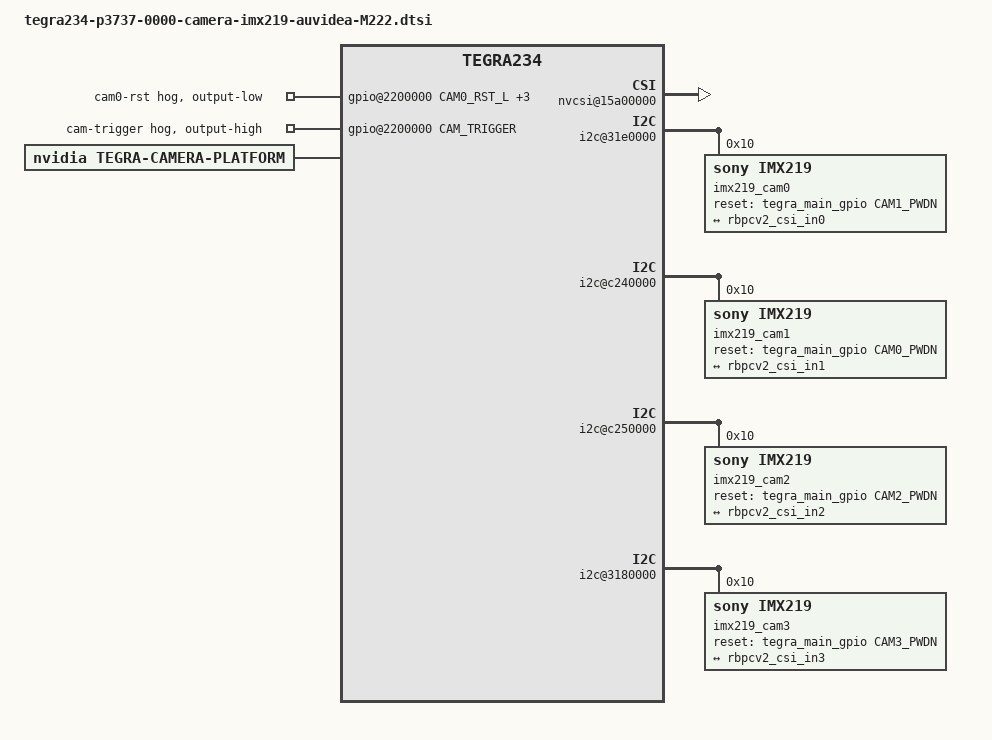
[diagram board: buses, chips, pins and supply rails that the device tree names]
/*
 * Copyright (c) 2017-2021, NVIDIA CORPORATION.  All rights reserved.
 *
 * This program is free software; you can redistribute it and/or modify it
 * under the terms and conditions of the GNU General Public License,
 * version 2, as published by the Free Software Foundation.
 *
 * This program is distributed in the hope it will be useful, but WITHOUT
 * ANY WARRANTY; without even the implied warranty of MERCHANTABILITY or
 * FITNESS FOR A PARTICULAR PURPOSE.  See the GNU General Public License for
 * more details.
 *
 * You should have received a copy of the GNU General Public License
 * along with this program.  If not, see <http://www.gnu.org/licenses/>.
 */


//new file created for 2x cam on X230D(fd)
#include "dt-bindings/clock/tegra234-clock.h"

#define CAM0_RST_L	TEGRA234_MAIN_GPIO(H, 3)
#define CAM0_PWDN	TEGRA234_MAIN_GPIO(H, 6)
#define CAM1_RST_L	TEGRA234_MAIN_GPIO(AC, 1)
#define CAM1_PWDN	TEGRA234_MAIN_GPIO(AC, 0)
#define CAM2_RST_L	TEGRA234_MAIN_GPIO(AC, 3)
#define CAM2_PWDN	TEGRA234_MAIN_GPIO(AC, 2)
#define CAM3_RST_L	TEGRA234_MAIN_GPIO(H, 4)
#define CAM3_PWDN	TEGRA234_MAIN_GPIO(H, 5)

#define CAM_TRIGGER	TEGRA234_MAIN_GPIO(R, 0)

#define CAMERA_I2C_MUX_BUS(x) (0x1E + x)


//new file created for 4x cam on X230(D) + M222					(fd)

/ {

	gpio@2200000 {
		camera-control-output-low {
			gpio-hog;
			output-low;
			gpios = <CAM0_RST_L 0 CAM0_PWDN 0
				 CAM1_RST_L 0 CAM1_PWDN 0>;
			label = "cam0-rst", "cam0-pwdn",
				"cam1-rst", "cam1-pwdn";
		};
		camera-trigger-output-high {
			gpio-hog;
			output-high;
			gpios = <CAM_TRIGGER 0>;
			label = "cam-trigger";
		};
	};


	tegra-capture-vi {
		status = "okay";
		num-channels = <4>;
		ports {
			status = "okay";
			#address-cells = <1>;
			#size-cells = <0>;
			vi_port0: port@0 {								//M222 CSI 01		
				status = "okay";
				reg = <0>;
				rbpcv2_vi_in0: endpoint {
					status = "okay";
					port-index = <0>;
					bus-width = <2>;
					remote-endpoint = <&rbpcv2_csi_out0>;
				};
			};
			vi_port1: port@1 {								//M222 CSI 67		
				status = "okay";
				reg = <1>;
				rbpcv2_vi_in1: endpoint {
					status = "okay";
					port-index = <5>;
					bus-width = <2>;
					remote-endpoint = <&rbpcv2_csi_out1>;
				};
			};
			vi_port2: port@2 {								//M222 CSI 45	
				status = "okay";
				reg = <2>;
				rbpcv2_vi_in2: endpoint {
					status = "okay";
					port-index = <4>;
					bus-width = <2>;
					remote-endpoint = <&rbpcv2_csi_out2>;
				};
			};
			vi_port3: port@3 {								//M222 CSI 23
				status = "okay";
				reg = <3>;
				rbpcv2_vi_in3: endpoint {
					status = "okay";
					port-index = <2>;
					bus-width = <2>;
					remote-endpoint = <&rbpcv2_csi_out3>;
				};
			};
		};
	};

	host1x@13e00000 {
		nvcsi@15a00000 {
			status = "okay";
			num-channels = <4>;
			#address-cells = <1>;
			#size-cells = <0>;
			csi_chan0: channel@0 {								//M222 CSI 01		
				status = "okay";
				reg = <0>;
				ports {
					status = "okay";
					#address-cells = <1>;
					#size-cells = <0>;
					csi_chan0_port0: port@0 {
						status = "okay";
						reg = <0>;
						rbpcv2_csi_in0: endpoint@0 {
							status = "okay";
							port-index = <0>;
							bus-width = <2>;
							remote-endpoint = <&rbpcv2_imx219_out0>;
						};
					};
					csi_chan0_port1: port@1 {
						status = "okay";
						reg = <1>;
						rbpcv2_csi_out0: endpoint@1 {
							status = "okay";
							remote-endpoint = <&rbpcv2_vi_in0>;
						};
					};
				};
			};
			csi_chan1: channel@1 {								//M222 CSI 67		
				status = "okay";
				reg = <1>;
				ports {
					status = "okay";
					#address-cells = <1>;
					#size-cells = <0>;
					csi_chan1_port0: port@0 {
						status = "okay";
						reg = <0>;
						rbpcv2_csi_in1: endpoint@0 {
							status = "okay";
							port-index = <6>;
							bus-width = <2>;
							remote-endpoint = <&rbpcv2_imx219_out1>;
						};
					};
					csi_chan1_port1: port@1 {
						status = "okay";
						reg = <1>;
						rbpcv2_csi_out1: endpoint@1 {
							status = "okay";
							remote-endpoint = <&rbpcv2_vi_in1>;
						};
					};
				};
			};
			csi_chan2: channel@2 {								//M222 CSI 45		
				status = "okay";
				reg = <2>;
				ports {
					status = "okay";
					#address-cells = <1>;
					#size-cells = <0>;
					csi_chan2_port0: port@0 {
						status = "okay";
						reg = <0>;
						rbpcv2_csi_in2: endpoint@0 {
							status = "okay";
							port-index = <4>;
							bus-width = <2>;
							remote-endpoint = <&rbpcv2_imx219_out2>;
						};
					};
					csi_chan2_port1: port@1 {
						status = "okay";
						reg = <1>;
						rbpcv2_csi_out2: endpoint@1 {
							status = "okay";
							remote-endpoint = <&rbpcv2_vi_in2>;
						};
					};
				};
			};
			csi_chan3: channel@3 {								//M222 CSI 23
				status = "okay";
				reg = <3>;
				ports {
					status = "okay";
					#address-cells = <1>;
					#size-cells = <0>;
					csi_chan3_port0: port@0 {
						status = "okay";
						reg = <0>;
						rbpcv2_csi_in3: endpoint@0 {
							status = "okay";
							port-index = <2>;
							bus-width = <2>;
							remote-endpoint = <&rbpcv2_imx219_out3>;
						};
					};
					csi_chan3_port1: port@1 {
						status = "okay";
						reg = <1>;
						rbpcv2_csi_out3: endpoint@1 {
							status = "okay";
							remote-endpoint = <&rbpcv2_vi_in3>;
						};
					};
				};
			};
		};
	};

	i2c@31e0000 {											//M222 CSI 01		
		imx219_cam0: rbpcv2_imx219_a@10 {
			status="okay";
			compatible = "sony,imx219";
			reg = <0x10>;

			reset-gpios = <&tegra_main_gpio CAM1_PWDN GPIO_ACTIVE_HIGH>;

			devnode = "video0";

			physical_w = "3.680";
			physical_h = "2.760";

			sensor_model = "imx219";

			use_sensor_mode_id = "true";

			mode0 { // IMX219_MODE_3280x2464_21FPS //
				mclk_khz = "24000";
				num_lanes = "2";
				tegra_sinterface = "serial_a";
				phy_mode = "DPHY";
				discontinuous_clk = "yes";
				dpcm_enable = "false";
				cil_settletime = "0";

				active_w = "3280";
				active_h = "2464";
				mode_type = "bayer";
				pixel_phase = "rggb";
				csi_pixel_bit_depth = "10";
				readout_orientation = "90";
				line_length = "3448";
				inherent_gain = "1";
				mclk_multiplier = "9.33";
				pix_clk_hz = "182400000";

				gain_factor = "16";
				framerate_factor = "1000000";
				exposure_factor = "1000000";
				min_gain_val = "16";
				max_gain_val = "170";
				step_gain_val = "1";
				default_gain = "16"; 
				min_hdr_ratio = "1";
				max_hdr_ratio = "1";
				min_framerate = "2000000";
				max_framerate = "21000000"; 
				step_framerate = "1";
				default_framerate = "21000000";
				min_exp_time = "13"; 
				max_exp_time = "683709"; 
				step_exp_time = "1";
				default_exp_time = "2495"; 

				embedded_metadata_height = "2";
			};
			mode1 { // IMX219_MODE_3280x1848_28FPS //
				mclk_khz = "24000";
				num_lanes = "2";
				tegra_sinterface = "serial_a";
				phy_mode = "DPHY";
				discontinuous_clk = "yes";
				dpcm_enable = "false";
				cil_settletime = "0";

				active_w = "3280";
				active_h = "1848";
				mode_type = "bayer";
				pixel_phase = "rggb";
				csi_pixel_bit_depth = "10";
				readout_orientation = "90";
				line_length = "3448";
				inherent_gain = "1";
				mclk_multiplier = "9.33";
				pix_clk_hz = "182400000";

				gain_factor = "16";
				framerate_factor = "1000000";
				exposure_factor = "1000000";
				min_gain_val = "16";
				max_gain_val = "170";
				step_gain_val = "1";
				default_gain = "16"; 
				min_hdr_ratio = "1";
				max_hdr_ratio = "1";
				min_framerate = "2000000"; 
				max_framerate = "28000000"; 
				step_framerate = "1";
				default_framerate = "28000000"; 
				min_exp_time = "13"; 
				max_exp_time = "683709"; 
				step_exp_time = "1";
				default_exp_time = "2495"; 

				embedded_metadata_height = "2";
			};
			mode2 { // IMX219_MODE_1920x1080_30FPS //
				mclk_khz = "24000";
				num_lanes = "2";
				tegra_sinterface = "serial_a";
				phy_mode = "DPHY";
				discontinuous_clk = "yes";
				dpcm_enable = "false";
				cil_settletime = "0";

				active_w = "1920";
				active_h = "1080";
				mode_type = "bayer";
				pixel_phase = "rggb";
				csi_pixel_bit_depth = "10";
				readout_orientation = "90";
				line_length = "3448";
				inherent_gain = "1";
				mclk_multiplier = "9.33";
				pix_clk_hz = "182400000";

				gain_factor = "16";
				framerate_factor = "1000000";
				exposure_factor = "1000000";
				min_gain_val = "16"; 
				max_gain_val = "170"; 
				step_gain_val = "1";
				default_gain = "16"; 
				min_hdr_ratio = "1";
				max_hdr_ratio = "1";
				min_framerate = "2000000"; 
				max_framerate = "30000000"; 
				step_framerate = "1";
				default_framerate = "30000000"; 
				min_exp_time = "13"; 
				max_exp_time = "683709"; 
				step_exp_time = "1";
				default_exp_time = "2495"; 

				embedded_metadata_height = "2";
			};

			mode3 { // IMX219_MODE_1640x1232_30FPS //
				mclk_khz = "24000";
				num_lanes = "2";
				tegra_sinterface = "serial_a";
				phy_mode = "DPHY";
				discontinuous_clk = "yes";
				dpcm_enable = "false";
				cil_settletime = "0";

				active_w = "1640";
				active_h = "1232";
				mode_type = "bayer";
				pixel_phase = "rggb";
				csi_pixel_bit_depth = "10";
				readout_orientation = "90";
				line_length = "3448";
				inherent_gain = "1";
				mclk_multiplier = "9.33";
				pix_clk_hz = "182400000";

				gain_factor = "16";
				framerate_factor = "1000000";
				exposure_factor = "1000000";
				min_gain_val = "16"; 
				max_gain_val = "170"; 
				step_gain_val = "1";
				default_gain = "16"; 
				min_hdr_ratio = "1";
				max_hdr_ratio = "1";
				min_framerate = "2000000"; 
				max_framerate = "30000000"; 
				step_framerate = "1";
				default_framerate = "30000000"; 
				min_exp_time = "13"; 
				max_exp_time = "683709"; 
				step_exp_time = "1";
				default_exp_time = "2495"; 

				embedded_metadata_height = "2";
			};

			mode4 { // IMX219_MODE_1280x720_60FPS //
				mclk_khz = "24000";
				num_lanes = "2";
				tegra_sinterface = "serial_a";
				phy_mode = "DPHY";
				discontinuous_clk = "yes";
				dpcm_enable = "false";
				cil_settletime = "0";

				active_w = "1280";
				active_h = "720";
				mode_type = "bayer";
				pixel_phase = "rggb";
				csi_pixel_bit_depth = "10";
				readout_orientation = "90";
				line_length = "3448";
				inherent_gain = "1";
				mclk_multiplier = "9.33";
				pix_clk_hz = "182400000";

				gain_factor = "16";
				framerate_factor = "1000000";
				exposure_factor = "1000000";
				min_gain_val = "16"; 
				max_gain_val = "170"; 
				step_gain_val = "1";
				default_gain = "16"; 
				min_hdr_ratio = "1";
				max_hdr_ratio = "1";
				min_framerate = "2000000";
				max_framerate = "60000000"; 
				step_framerate = "1";
				default_framerate = "60000000"; 
				min_exp_time = "13"; 
				max_exp_time = "683709"; 
				step_exp_time = "1";
				default_exp_time = "2495"; 

				embedded_metadata_height = "2";
			};

			ports {
				status="okay";
				#address-cells = <1>;
				#size-cells = <0>;
				port@0 {
					status="okay";
					reg = <0>;
					rbpcv2_imx219_out0: endpoint {
						status="okay";
						port-index = <0>;
						bus-width = <2>;
						remote-endpoint = <&rbpcv2_csi_in0>;
					};
				};
			};
		};
	};
	i2c@c240000 {												//M222 CSI 67			
		imx219_cam1: rbpcv2_imx219_g@10 {
			status="okay";
			compatible = "sony,imx219";
			reg = <0x10>;
			
			reset-gpios = <&tegra_main_gpio CAM0_PWDN GPIO_ACTIVE_HIGH>;

			devnode = "video1";

			physical_w = "3.680";
			physical_h = "2.760";

			sensor_model = "imx219";

			use_sensor_mode_id = "true";

			mode0 { // IMX219_MODE_3280x2464_21FPS //
				mclk_khz = "24000";
				num_lanes = "2";
				tegra_sinterface = "serial_g";
				phy_mode = "DPHY";
				discontinuous_clk = "yes";
				dpcm_enable = "false";
				cil_settletime = "0";

				active_w = "3280";
				active_h = "2464";
				mode_type = "bayer";
				pixel_phase = "rggb";
				csi_pixel_bit_depth = "10";
				readout_orientation = "90";
				line_length = "3448";
				inherent_gain = "1";
				mclk_multiplier = "9.33";
				pix_clk_hz = "182400000";

				gain_factor = "16";
				framerate_factor = "1000000";
				exposure_factor = "1000000";
				min_gain_val = "16"; 
				max_gain_val = "170"; 
				step_gain_val = "1";
				default_gain = "16"; 
				min_hdr_ratio = "1";
				max_hdr_ratio = "1";
				min_framerate = "2000000"; 
				max_framerate = "21000000"; 
				step_framerate = "1";
				default_framerate = "21000000"; 
				min_exp_time = "13"; 
				max_exp_time = "683709"; 
				step_exp_time = "1";
				default_exp_time = "2495"; 

				embedded_metadata_height = "2";
			};
			mode1 { // IMX219_MODE_3280x1848_28FPS //
				mclk_khz = "24000";
				num_lanes = "2";
				tegra_sinterface = "serial_g";
				phy_mode = "DPHY";
				discontinuous_clk = "yes";
				dpcm_enable = "false";
				cil_settletime = "0";

				active_w = "3280";
				active_h = "1848";
				mode_type = "bayer";
				pixel_phase = "rggb";
				csi_pixel_bit_depth = "10";
				readout_orientation = "90";
				line_length = "3448";
				inherent_gain = "1";
				mclk_multiplier = "9.33";
				pix_clk_hz = "182400000";

				gain_factor = "16";
				framerate_factor = "1000000";
				exposure_factor = "1000000";
				min_gain_val = "16"; 
				max_gain_val = "170"; 
				step_gain_val = "1";
				default_gain = "16"; 
				min_hdr_ratio = "1";
				max_hdr_ratio = "1";
				min_framerate = "2000000"; 
				max_framerate = "28000000"; 
				step_framerate = "1";
				default_framerate = "28000000"; 
				min_exp_time = "13"; 
				max_exp_time = "683709"; 
				step_exp_time = "1";
				default_exp_time = "2495"; 

				embedded_metadata_height = "2";
			};
			mode2 { // IMX219_MODE_1920x1080_30FPS //
				mclk_khz = "24000";
				num_lanes = "2";
				tegra_sinterface = "serial_g";
				phy_mode = "DPHY";
				discontinuous_clk = "yes";
				dpcm_enable = "false";
				cil_settletime = "0";

				active_w = "1920";
				active_h = "1080";
				mode_type = "bayer";
				pixel_phase = "rggb";
				csi_pixel_bit_depth = "10";
				readout_orientation = "90";
				line_length = "3448";
				inherent_gain = "1";
				mclk_multiplier = "9.33";
				pix_clk_hz = "182400000";

				gain_factor = "16";
				framerate_factor = "1000000";
				exposure_factor = "1000000";
				min_gain_val = "16"; 
				max_gain_val = "170"; 
				step_gain_val = "1";
				default_gain = "16"; 
				min_hdr_ratio = "1";
				max_hdr_ratio = "1";
				min_framerate = "2000000";
				max_framerate = "30000000";
				step_framerate = "1";
				default_framerate = "30000000";
				min_exp_time = "13"; 
				max_exp_time = "683709"; 
				step_exp_time = "1";
				default_exp_time = "2495"; 

				embedded_metadata_height = "2";
			};

			mode3 { // IMX219_MODE_1640x1232_30FPS //
				mclk_khz = "24000";
				num_lanes = "2";
				tegra_sinterface = "serial_g";
				phy_mode = "DPHY";
				discontinuous_clk = "yes";
				dpcm_enable = "false";
				cil_settletime = "0";

				active_w = "1640";
				active_h = "1232";
				mode_type = "bayer";
				pixel_phase = "rggb";
				csi_pixel_bit_depth = "10";
				readout_orientation = "90";
				line_length = "3448";
				inherent_gain = "1";
				mclk_multiplier = "9.33";
				pix_clk_hz = "182400000";

				gain_factor = "16";
				framerate_factor = "1000000";
				exposure_factor = "1000000";
				min_gain_val = "16"; 
				max_gain_val = "170"; 
				step_gain_val = "1";
				default_gain = "16"; 
				min_hdr_ratio = "1";
				max_hdr_ratio = "1";
				min_framerate = "2000000"; 
				max_framerate = "30000000";
				step_framerate = "1";
				default_framerate = "30000000"; 
				min_exp_time = "13"; 
				max_exp_time = "683709"; 
				step_exp_time = "1";
				default_exp_time = "2495"; 

				embedded_metadata_height = "2";
			};

			mode4 { // IMX219_MODE_1280x720_60FPS //
				mclk_khz = "24000";
				num_lanes = "2";
				tegra_sinterface = "serial_g";
				phy_mode = "DPHY";
				discontinuous_clk = "yes";
				dpcm_enable = "false";
				cil_settletime = "0";

				active_w = "1280";
				active_h = "720";
				mode_type = "bayer";
				pixel_phase = "rggb";
				csi_pixel_bit_depth = "10";
				readout_orientation = "90";
				line_length = "3448";
				inherent_gain = "1";
				mclk_multiplier = "9.33";
				pix_clk_hz = "182400000";

				gain_factor = "16";
				framerate_factor = "1000000";
				exposure_factor = "1000000";
				min_gain_val = "16"; 
				max_gain_val = "170"; 
				step_gain_val = "1";
				default_gain = "16"; 
				min_hdr_ratio = "1";
				max_hdr_ratio = "1";
				min_framerate = "2000000";
				max_framerate = "60000000";
				step_framerate = "1";
				default_framerate = "60000000"; 
				min_exp_time = "13";
				max_exp_time = "683709"; 
				step_exp_time = "1";
				default_exp_time = "2495"; 

				embedded_metadata_height = "2";
			};

			ports {
				status="okay";
				#address-cells = <1>;
				#size-cells = <0>;
				port@0 {
					status="okay";
					reg = <0>;
					rbpcv2_imx219_out1: endpoint {
						status = "okay";
						port-index = <6>;
						bus-width = <2>;
						remote-endpoint = <&rbpcv2_csi_in1>;
					};
				};
			};
		};
	};
	i2c@c250000 {												//M222 CSI 45	
		imx219_cam2: rbpcv2_imx219_e@10 {
			status="okay";
			compatible = "sony,imx219";
			reg = <0x10>;
			
			reset-gpios = <&tegra_main_gpio CAM2_PWDN GPIO_ACTIVE_HIGH>;

			devnode = "video2";

			physical_w = "3.680";
			physical_h = "2.760";

			sensor_model = "imx219";

			use_sensor_mode_id = "true";

			mode0 { // IMX219_MODE_3280x2464_21FPS //
				mclk_khz = "24000";
				num_lanes = "2";
				tegra_sinterface = "serial_e";
				phy_mode = "DPHY";
				discontinuous_clk = "yes";
				dpcm_enable = "false";
				cil_settletime = "0";

				active_w = "3280";
				active_h = "2464";
				mode_type = "bayer";
				pixel_phase = "rggb";
				csi_pixel_bit_depth = "10";
				readout_orientation = "90";
				line_length = "3448";
				inherent_gain = "1";
				mclk_multiplier = "9.33";
				pix_clk_hz = "182400000";

				gain_factor = "16";
				framerate_factor = "1000000";
				exposure_factor = "1000000";
				min_gain_val = "16"; 
				max_gain_val = "170"; 
				step_gain_val = "1";
				default_gain = "16"; 
				min_hdr_ratio = "1";
				max_hdr_ratio = "1";
				min_framerate = "2000000"; 
				max_framerate = "21000000"; 
				step_framerate = "1";
				default_framerate = "21000000"; 
				min_exp_time = "13"; 
				max_exp_time = "683709"; 
				step_exp_time = "1";
				default_exp_time = "2495"; 

				embedded_metadata_height = "2";
			};
			mode1 { // IMX219_MODE_3280x1848_28FPS //
				mclk_khz = "24000";
				num_lanes = "2";
				tegra_sinterface = "serial_e";
				phy_mode = "DPHY";
				discontinuous_clk = "yes";
				dpcm_enable = "false";
				cil_settletime = "0";

				active_w = "3280";
				active_h = "1848";
				mode_type = "bayer";
				pixel_phase = "rggb";
				csi_pixel_bit_depth = "10";
				readout_orientation = "90";
				line_length = "3448";
				inherent_gain = "1";
				mclk_multiplier = "9.33";
				pix_clk_hz = "182400000";

				gain_factor = "16";
				framerate_factor = "1000000";
				exposure_factor = "1000000";
				min_gain_val = "16"; 
				max_gain_val = "170"; 
				step_gain_val = "1";
				default_gain = "16"; 
				min_hdr_ratio = "1";
				max_hdr_ratio = "1";
				min_framerate = "2000000"; 
				max_framerate = "28000000"; 
				step_framerate = "1";
				default_framerate = "28000000"; 
				min_exp_time = "13"; 
				max_exp_time = "683709"; 
				step_exp_time = "1";
				default_exp_time = "2495"; 

				embedded_metadata_height = "2";
			};
			mode2 { // IMX219_MODE_1920x1080_30FPS //
				mclk_khz = "24000";
				num_lanes = "2";
				tegra_sinterface = "serial_e";
				phy_mode = "DPHY";
				discontinuous_clk = "yes";
				dpcm_enable = "false";
				cil_settletime = "0";

				active_w = "1920";
				active_h = "1080";
				mode_type = "bayer";
				pixel_phase = "rggb";
				csi_pixel_bit_depth = "10";
				readout_orientation = "90";
				line_length = "3448";
				inherent_gain = "1";
				mclk_multiplier = "9.33";
				pix_clk_hz = "182400000";

				gain_factor = "16";
				framerate_factor = "1000000";
				exposure_factor = "1000000";
				min_gain_val = "16"; 
				max_gain_val = "170"; 
				step_gain_val = "1";
				default_gain = "16"; 
				min_hdr_ratio = "1";
				max_hdr_ratio = "1";
				min_framerate = "2000000";
				max_framerate = "30000000";
				step_framerate = "1";
				default_framerate = "30000000";
				min_exp_time = "13"; 
				max_exp_time = "683709"; 
				step_exp_time = "1";
				default_exp_time = "2495"; 

				embedded_metadata_height = "2";
			};

			mode3 { // IMX219_MODE_1640x1232_30FPS //
				mclk_khz = "24000";
				num_lanes = "2";
				tegra_sinterface = "serial_e";
				phy_mode = "DPHY";
				discontinuous_clk = "yes";
				dpcm_enable = "false";
				cil_settletime = "0";

				active_w = "1640";
				active_h = "1232";
				mode_type = "bayer";
				pixel_phase = "rggb";
				csi_pixel_bit_depth = "10";
				readout_orientation = "90";
				line_length = "3448";
				inherent_gain = "1";
				mclk_multiplier = "9.33";
				pix_clk_hz = "182400000";

				gain_factor = "16";
				framerate_factor = "1000000";
				exposure_factor = "1000000";
				min_gain_val = "16"; 
				max_gain_val = "170"; 
				step_gain_val = "1";
				default_gain = "16"; 
				min_hdr_ratio = "1";
				max_hdr_ratio = "1";
				min_framerate = "2000000"; 
				max_framerate = "30000000";
				step_framerate = "1";
				default_framerate = "30000000"; 
				min_exp_time = "13"; 
				max_exp_time = "683709"; 
				step_exp_time = "1";
				default_exp_time = "2495"; 

				embedded_metadata_height = "2";
			};

			mode4 { // IMX219_MODE_1280x720_60FPS //
				mclk_khz = "24000";
				num_lanes = "2";
				tegra_sinterface = "serial_e";
				phy_mode = "DPHY";
				discontinuous_clk = "yes";
				dpcm_enable = "false";
				cil_settletime = "0";

				active_w = "1280";
				active_h = "720";
				mode_type = "bayer";
				pixel_phase = "rggb";
				csi_pixel_bit_depth = "10";
				readout_orientation = "90";
				line_length = "3448";
				inherent_gain = "1";
				mclk_multiplier = "9.33";
				pix_clk_hz = "182400000";

				gain_factor = "16";
				framerate_factor = "1000000";
				exposure_factor = "1000000";
				min_gain_val = "16"; 
				max_gain_val = "170"; 
				step_gain_val = "1";
				default_gain = "16"; 
				min_hdr_ratio = "1";
				max_hdr_ratio = "1";
				min_framerate = "2000000";
				max_framerate = "60000000";
				step_framerate = "1";
				default_framerate = "60000000"; 
				min_exp_time = "13";
				max_exp_time = "683709"; 
				step_exp_time = "1";
				default_exp_time = "2495"; 

				embedded_metadata_height = "2";
			};

			ports {
				status="okay";
				#address-cells = <1>;
				#size-cells = <0>;
				port@0 {
					status="okay";
					reg = <0>;
					rbpcv2_imx219_out2: endpoint {
						status = "okay";
						port-index = <4>;
						bus-width = <2>;
						remote-endpoint = <&rbpcv2_csi_in2>;
					};
				};
			};
		};
	};
	i2c@3180000 {											//M222 CSI 23				
		imx219_cam3: rbpcv2_imx219_c@10 {
			status="okay";
			compatible = "sony,imx219";
			reg = <0x10>;
			
			reset-gpios = <&tegra_main_gpio CAM3_PWDN GPIO_ACTIVE_HIGH>;

			devnode = "video3";

			physical_w = "3.680";
			physical_h = "2.760";

			sensor_model = "imx219";

			use_sensor_mode_id = "true";

			mode0 { // IMX219_MODE_3280x2464_21FPS //
				mclk_khz = "24000";
				num_lanes = "2";
				tegra_sinterface = "serial_c";
				phy_mode = "DPHY";
				discontinuous_clk = "yes";
				dpcm_enable = "false";
				cil_settletime = "0";

				active_w = "3280";
				active_h = "2464";
				mode_type = "bayer";
				pixel_phase = "rggb";
				csi_pixel_bit_depth = "10";
				readout_orientation = "90";
				line_length = "3448";
				inherent_gain = "1";
				mclk_multiplier = "9.33";
				pix_clk_hz = "182400000";

				gain_factor = "16";
				framerate_factor = "1000000";
				exposure_factor = "1000000";
				min_gain_val = "16"; 
				max_gain_val = "170"; 
				step_gain_val = "1";
				default_gain = "16"; 
				min_hdr_ratio = "1";
				max_hdr_ratio = "1";
				min_framerate = "2000000"; 
				max_framerate = "21000000"; 
				step_framerate = "1";
				default_framerate = "21000000"; 
				min_exp_time = "13"; 
				max_exp_time = "683709"; 
				step_exp_time = "1";
				default_exp_time = "2495"; 

				embedded_metadata_height = "2";
			};
			mode1 { // IMX219_MODE_3280x1848_28FPS //
				mclk_khz = "24000";
				num_lanes = "2";
				tegra_sinterface = "serial_c";
				phy_mode = "DPHY";
				discontinuous_clk = "yes";
				dpcm_enable = "false";
				cil_settletime = "0";

				active_w = "3280";
				active_h = "1848";
				mode_type = "bayer";
				pixel_phase = "rggb";
				csi_pixel_bit_depth = "10";
				readout_orientation = "90";
				line_length = "3448";
				inherent_gain = "1";
				mclk_multiplier = "9.33";
				pix_clk_hz = "182400000";

				gain_factor = "16";
				framerate_factor = "1000000";
				exposure_factor = "1000000";
				min_gain_val = "16"; 
				max_gain_val = "170"; 
				step_gain_val = "1";
				default_gain = "16"; 
				min_hdr_ratio = "1";
				max_hdr_ratio = "1";
				min_framerate = "2000000"; 
				max_framerate = "28000000"; 
				step_framerate = "1";
				default_framerate = "28000000"; 
				min_exp_time = "13"; 
				max_exp_time = "683709"; 
				step_exp_time = "1";
				default_exp_time = "2495"; 

				embedded_metadata_height = "2";
			};
			mode2 { // IMX219_MODE_1920x1080_30FPS //
				mclk_khz = "24000";
				num_lanes = "2";
				tegra_sinterface = "serial_c";
				phy_mode = "DPHY";
				discontinuous_clk = "yes";
				dpcm_enable = "false";
				cil_settletime = "0";

				active_w = "1920";
				active_h = "1080";
				mode_type = "bayer";
				pixel_phase = "rggb";
				csi_pixel_bit_depth = "10";
				readout_orientation = "90";
				line_length = "3448";
				inherent_gain = "1";
				mclk_multiplier = "9.33";
				pix_clk_hz = "182400000";

				gain_factor = "16";
				framerate_factor = "1000000";
				exposure_factor = "1000000";
				min_gain_val = "16"; 
				max_gain_val = "170"; 
				step_gain_val = "1";
				default_gain = "16"; 
				min_hdr_ratio = "1";
				max_hdr_ratio = "1";
				min_framerate = "2000000";
				max_framerate = "30000000";
				step_framerate = "1";
				default_framerate = "30000000";
				min_exp_time = "13"; 
				max_exp_time = "683709"; 
				step_exp_time = "1";
				default_exp_time = "2495"; 

				embedded_metadata_height = "2";
			};

			mode3 { // IMX219_MODE_1640x1232_30FPS //
				mclk_khz = "24000";
				num_lanes = "2";
				tegra_sinterface = "serial_c";
				phy_mode = "DPHY";
				discontinuous_clk = "yes";
				dpcm_enable = "false";
				cil_settletime = "0";

				active_w = "1640";
				active_h = "1232";
				mode_type = "bayer";
				pixel_phase = "rggb";
				csi_pixel_bit_depth = "10";
				readout_orientation = "90";
				line_length = "3448";
				inherent_gain = "1";
				mclk_multiplier = "9.33";
				pix_clk_hz = "182400000";

				gain_factor = "16";
				framerate_factor = "1000000";
				exposure_factor = "1000000";
				min_gain_val = "16"; 
				max_gain_val = "170"; 
				step_gain_val = "1";
				default_gain = "16"; 
				min_hdr_ratio = "1";
				max_hdr_ratio = "1";
				min_framerate = "2000000"; 
				max_framerate = "30000000";
				step_framerate = "1";
				default_framerate = "30000000"; 
				min_exp_time = "13"; 
				max_exp_time = "683709"; 
				step_exp_time = "1";
				default_exp_time = "2495"; 

				embedded_metadata_height = "2";
			};

			mode4 { // IMX219_MODE_1280x720_60FPS //
				mclk_khz = "24000";
				num_lanes = "2";
				tegra_sinterface = "serial_c";
				phy_mode = "DPHY";
				discontinuous_clk = "yes";
				dpcm_enable = "false";
				cil_settletime = "0";

				active_w = "1280";
				active_h = "720";
				mode_type = "bayer";
				pixel_phase = "rggb";
				csi_pixel_bit_depth = "10";
				readout_orientation = "90";
				line_length = "3448";
				inherent_gain = "1";
				mclk_multiplier = "9.33";
				pix_clk_hz = "182400000";

				gain_factor = "16";
				framerate_factor = "1000000";
				exposure_factor = "1000000";
				min_gain_val = "16"; 
				max_gain_val = "170"; 
				step_gain_val = "1";
				default_gain = "16"; 
				min_hdr_ratio = "1";
				max_hdr_ratio = "1";
				min_framerate = "2000000";
				max_framerate = "60000000";
				step_framerate = "1";
				default_framerate = "60000000"; 
				min_exp_time = "13";
				max_exp_time = "683709"; 
				step_exp_time = "1";
				default_exp_time = "2495"; 

				embedded_metadata_height = "2";
			};

			ports {
				status="okay";
				#address-cells = <1>;
				#size-cells = <0>;
				port@0 {
					status="okay";
					reg = <0>;
					rbpcv2_imx219_out3: endpoint {
						status = "okay";
						port-index = <2>;
						bus-width = <2>;
						remote-endpoint = <&rbpcv2_csi_in3>;
					};
				};
			};
		};
	};

	lens_imx219@RBPCV2 {
		min_focus_distance = "0.0";
		hyper_focal = "0.0";
		focal_length = "3.04";
		f_number = "2.0";
		aperture = "0.0";
	};

};


/ {
	tegra-camera-platform {
		compatible = "nvidia, tegra-camera-platform";

		num_csi_lanes = <8>;
		max_lane_speed = <1500000>;
		min_bits_per_pixel = <10>;
		vi_peak_byte_per_pixel = <2>;
		vi_bw_margin_pct = <25>;
		max_pixel_rate = <240000>;
		isp_peak_byte_per_pixel = <5>;
		isp_bw_margin_pct = <25>;

		modules {
			cam_module0: module0 {
				badge = "imx219_topright_RBPCV2";
				position = "topright";
				orientation = "1";
				cam_module0_drivernode0: drivernode0 {
					pcl_id = "v4l2_sensor";
					devname = "imx219 8-0010";
					proc-device-tree = "/proc/device-tree/i2c@31e0000/rbpcv2_imx219_a@10";
				};
				cam_module0_drivernode1: drivernode1 {
					pcl_id = "v4l2_lens";
					proc-device-tree = "/proc/device-tree/lens_imx219@RBPCV2/";
				};
			};
			cam_module1: module1 {
				badge = "imx219_bottomright_RBPCV2";
				position = "bottomright";
				orientation = "1";
				cam_module1_drivernode0: drivernode0 {
					pcl_id = "v4l2_sensor";
					devname = "imx219 1-0010";
					proc-device-tree = "/proc/device-tree/i2c@c240000/rbpcv2_imx219_g@10";
				};
				cam_module1_drivernode1: drivernode1 {
					pcl_id = "v4l2_lens";
					proc-device-tree = "/proc/device-tree/lens_imx219@RBPCV2/";
				};
			};
			cam_module2: module2 {
				badge = "imx219_topleft_RBPCV2";
				position = "topleft";
				orientation = "1";
				cam_module2_drivernode0: drivernode0 {
					pcl_id = "v4l2_sensor";
					devname = "imx219 7-0010";
					proc-device-tree = "/proc/device-tree/i2c@c250000/rbpcv2_imx219_e@10";
				};
				cam_module2_drivernode1: drivernode1 {
					pcl_id = "v4l2_lens";
					proc-device-tree = "/proc/device-tree/lens_imx219@RBPCV2/";
				};
			};
			cam_module3: module3 {
				badge = "imx219_bottomleft_RBPCV2";
				position = "bottomleft";
				orientation = "1";
				cam_module3_drivernode0: drivernode0 {
					pcl_id = "v4l2_sensor";
					devname = "imx219 2-0010";
					proc-device-tree = "/proc/device-tree/i2c@3180000/rbpcv2_imx219_c@10";
				};
				cam_module3_drivernode1: drivernode1 {
					pcl_id = "v4l2_lens";
					proc-device-tree = "/proc/device-tree/lens_imx219@RBPCV2/";
				};
			};
		};
	};
};
